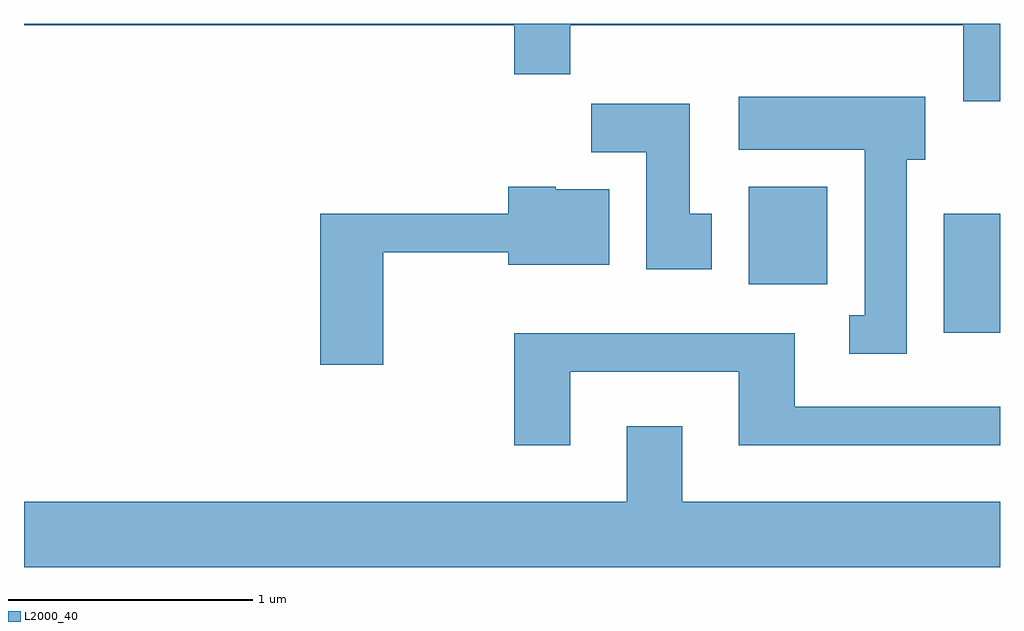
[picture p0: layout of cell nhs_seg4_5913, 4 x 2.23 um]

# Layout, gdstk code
import gdstk
lib = gdstk.Library(unit=1e-6, precision=1e-09)
def R(c, l, rs):  # rectangles x0, y0, x1, y1
    for r in rs: c.add(gdstk.rectangle(r[:2], r[2:], *l))
def P(c, l, *ps):  # polygons
    for p in ps: c.add(gdstk.Polygon(p, *l))
L2000_40 = (2000, 40)

nhs_seg4_5913 = lib.new_cell('nhs_seg4_5913')
R(nhs_seg4_5913, L2000_40, [(361.381,1386.716,361.611,1387.204), (360.581,1386.916,360.904,1387.314)])
P(nhs_seg4_5913, L2000_40, [(361.611,1387.982),(357.611,1387.982),(357.611,1387.976),(359.621,1387.976),(359.621,1387.776),(359.849,1387.776),(359.849,1387.976),(361.461,1387.976),(361.461,1387.666),(361.611,1387.666)],
  [(361.229,1387.426),(361.304,1387.426),(361.304,1387.684),(360.541,1387.684),(360.541,1387.466),(361.056,1387.466),(361.056,1386.789),(360.993,1386.789),(360.993,1386.631),(361.229,1386.631)],
  [(360.429,1387.204),(360.339,1387.204),(360.339,1387.654),(359.936,1387.654),(359.936,1387.456),(360.161,1387.456),(360.161,1386.976),(360.429,1386.976)],
  [(359.084,1387.046),(359.596,1387.046),(359.596,1386.996),(360.009,1386.996),(360.009,1387.304),(359.79,1387.304),(359.79,1387.314),(359.596,1387.314),(359.596,1387.204),(358.826,1387.204),(358.826,1386.586),(359.084,1386.586)],
  [(359.849,1386.556),(360.541,1386.556),(360.541,1386.256),(361.611,1386.256),(361.611,1386.414),(360.769,1386.414),(360.769,1386.714),(359.621,1386.714),(359.621,1386.256),(359.849,1386.256)],
  [(361.611,1386.024),(360.309,1386.024),(360.309,1386.334),(360.081,1386.334),(360.081,1386.024),(357.611,1386.024),(357.611,1385.756),(361.611,1385.756)])

lib.write_gds('nhs_seg4_5913.gds')
